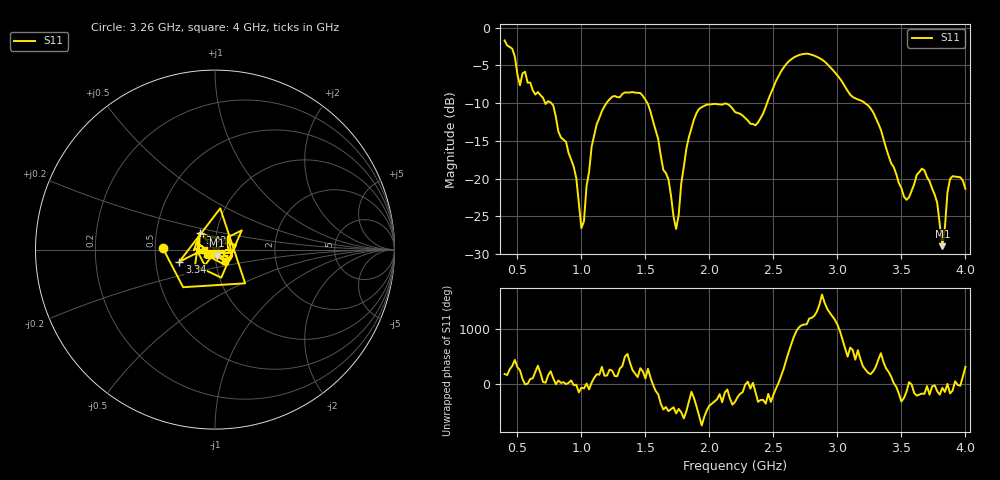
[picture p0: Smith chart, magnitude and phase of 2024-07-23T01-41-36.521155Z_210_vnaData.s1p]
!Created with skrf (http://scikit-rf.org).
# Hz S RI R 50.0
!freq ReS11 ImS11
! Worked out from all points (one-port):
!   181 points, 400 MHz to 4 GHz, reference 50 ohm
!   lowest |S11| = -28.9 dB at 3.82 GHz (marker M1), VSWR 1.07, Z = 51 - j3.48 ohm
!   |S11| at or under -10 dB: 765.3 MHz to 1.196 GHz (430.2 MHz wide, 43.9 % of centre); 1.516 GHz to 2.45 GHz (934.1 MHz wide, 47.1 % of centre); 3.216 GHz to end of sweep (the widest 3 of 4)
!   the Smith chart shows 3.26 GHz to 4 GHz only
!   S11 on the Smith chart (normalised r, x): 3.26 GHz: 0.55, +0.01; 3.34 GHz: 0.66, -0.09; 3.42 GHz: 0.83, +0.16; 4 GHz: 1.11, -0.15
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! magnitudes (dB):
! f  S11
! 400 MHz  -1.7
! 520 MHz  -7.6
! 560 MHz  -5.8
! 780 MHz  -10.3
! 860 MHz  -14.8
! 960 MHz  -19.9
! 1 GHz  -26.6
! 1.12 GHz  -12.8
! 1.3 GHz  -9.2
! 1.52 GHz  -10.1
! 1.74 GHz  -26.7
! 1.76 GHz  -24.8
! 1.82 GHz  -16.0
! 1.9 GHz  -11.3
! 2.2 GHz  -11.2
! 2.36 GHz  -12.9
! 2.66 GHz  -3.9
! 2.88 GHz  -4.2
! 3.1 GHz  -8.9
! 3.26 GHz  -10.7
! 3.34 GHz  -13.5
! 3.42 GHz  -17.9
! 3.56 GHz  -22.5
! 3.68 GHz  -18.9
! 3.78 GHz  -23.2
! 3.82 GHz  -28.9
! 3.88 GHz  -20.0
! 4 GHz  -21.3
